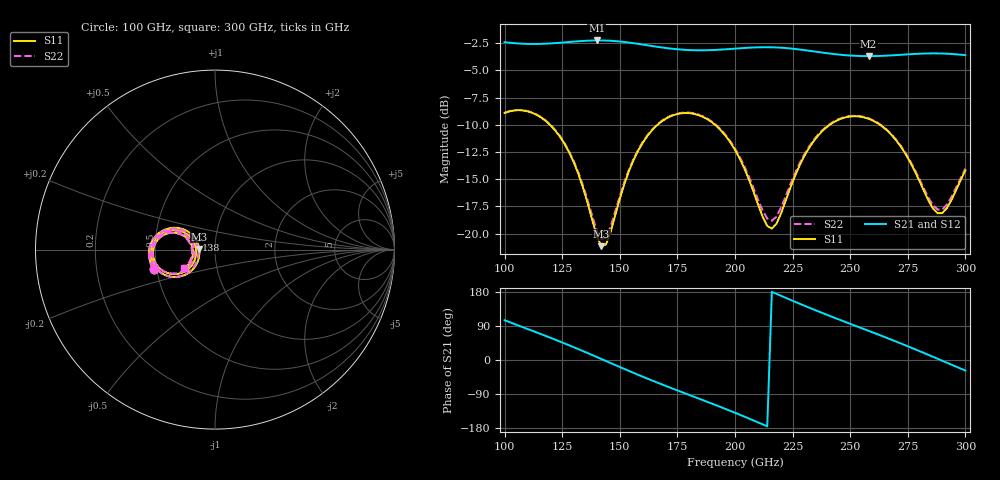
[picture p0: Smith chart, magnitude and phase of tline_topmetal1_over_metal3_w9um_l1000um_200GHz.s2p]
#  GHZ S DB R 50
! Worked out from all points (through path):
!   101 points, 100 GHz to 300 GHz, reference 50 ohm
!   highest |S21| = -2.24 dB at 140 GHz (marker M1); lowest = -3.7 dB at 258 GHz (marker M2)
!   group delay of S21, straight-line fit = 6.85 ps
!   lowest |S11| = -21.1 dB at 142 GHz (marker M3), VSWR 1.19, Z = 41.9 + j0.267 ohm
!   |S11| at or under -10 dB: 119.7 GHz to 166.4 GHz (46.63 GHz wide, 32.6 % of centre); 191.4 GHz to 241.1 GHz (49.75 GHz wide, 23 % of centre); 263 GHz to end of sweep
!   |S22| runs from -20.5 to -8.6 dB; largest |S21 - S12| = 8.3e-14
!   S11 on the Smith chart (normalised r, x): 100 GHz: 0.48, -0.12; 138 GHz: 0.81, +0.08; 300 GHz: 0.70, -0.15
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100  -8.91 -162.7  -2.40 105.0  -2.40 105.0  -8.88 -162.2
118  -9.66 164.4  -2.54 63.1  -2.54 63.1  -9.62 165.4
126  -11.74 151.8  -2.42 43.8  -2.42 43.8  -11.67 153.3
134  -15.74 146.5  -2.29 23.6  -2.29 23.6  -15.55 148.7
138  -18.72 153.7  -2.25 13.2  -2.25 13.2  -18.35 156.2
140  -20.21 163.3  -2.24 7.9  -2.24 7.9  -19.69 165.4
142  -21.15 177.9  -2.24 2.6  -2.24 2.6  -20.51 178.9
146  -19.85 -152.1  -2.27 -8.0  -2.27 -8.0  -19.37 -153.5
154  -14.23 -138.4  -2.44 -28.9  -2.44 -28.9  -14.09 -139.5
168  -9.71 -156.7  -2.88 -63.8  -2.88 -63.8  -9.66 -156.9
184  -9.09 176.1  -3.15 -101.1  -3.15 -101.1  -9.04 176.7
200  -12.29 153.3  -2.99 -139.2  -2.99 -139.2  -12.16 154.9
208  -16.12 153.0  -2.89 -159.4  -2.89 -159.4  -15.79 155.3
216  -19.54 -174.5  -2.87 179.8  -2.87 179.8  -18.82 -174.6
224  -15.80 -145.1  -2.98 158.9  -2.98 158.9  -15.48 -147.3
234  -11.53 -148.9  -3.24 133.6  -3.24 133.6  -11.43 -150.2
246  -9.43 -166.0  -3.56 104.8  -3.56 104.8  -9.38 -166.7
258  -9.44 175.5  -3.68 76.9  -3.68 76.9  -9.40 175.3
268  -10.94 161.8  -3.61 53.3  -3.61 53.3  -10.88 162.0
278  -14.23 155.8  -3.48 28.7  -3.48 28.7  -14.10 156.5
288  -18.13 179.6  -3.43 3.1  -3.43 3.1  -17.79 179.7
300  -14.18 -148.5  -3.60 -27.8  -3.60 -27.8  -14.02 -149.7
